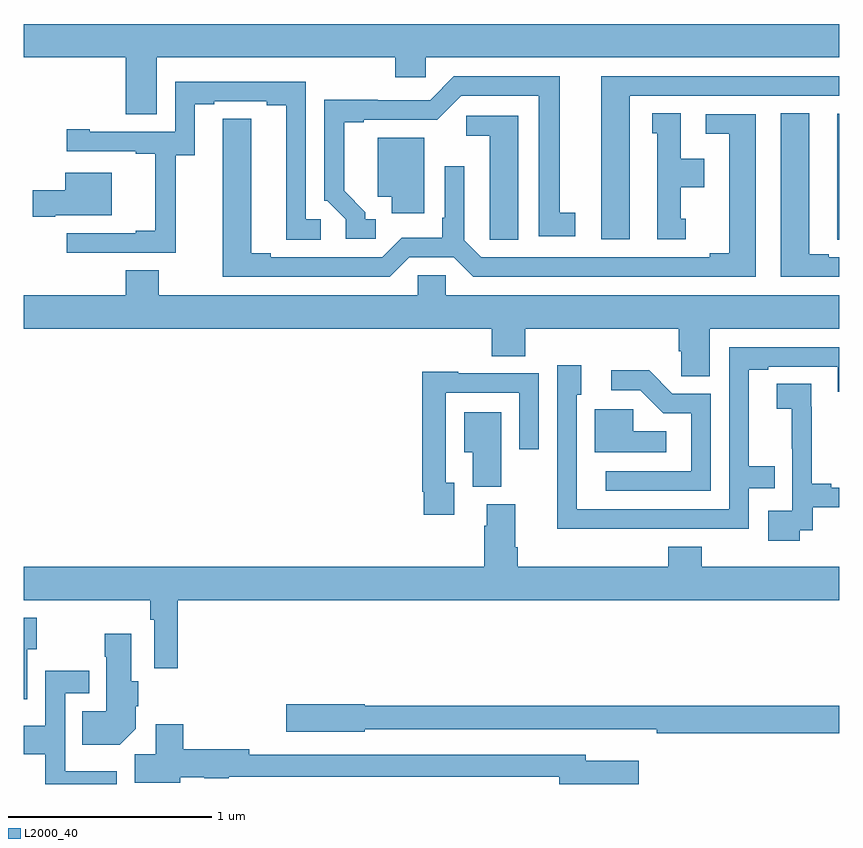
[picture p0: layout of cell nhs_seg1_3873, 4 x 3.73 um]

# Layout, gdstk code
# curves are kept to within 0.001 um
import gdstk
lib = gdstk.Library(unit=1e-6, precision=1e-09)
def P(c, l, *ps):  # polygons
    for p in ps: c.add(gdstk.Polygon(p, *l))
L2000_40 = (2000, 40)

nhs_seg1_3873 = lib.new_cell('nhs_seg1_3873')
P(nhs_seg1_3873, L2000_40, [(323.653,519.764),(324.821,519.764),(324.821,519.666),(324.972,519.666),(324.972,519.764),(327,519.764),(327,519.928),(323,519.928),(323,519.764),(323.501,519.764),(323.501,519.484),(323.653,519.484)],
  [(324.727,518.97),(324.676,518.97),(324.676,519.005),(324.571,519.11),(324.571,519.447),(324.667,519.447),(324.667,519.459),(325.029,519.459),(325.146,519.576),(325.526,519.576),(325.526,518.886),(325.705,518.886),(325.705,519.002),(325.63,519.002),(325.63,519.672),(325.11,519.672),(324.993,519.555),(324.737,519.555),(324.737,519.557),(324.474,519.557),(324.474,519.06),(324.489,519.06),(324.579,518.97),(324.579,518.874),(324.727,518.874)],
  [(325.972,519.576),(327,519.576),(327,519.672),(325.832,519.672),(325.832,518.871),(325.972,518.871)],
  [(323.745,519.283),(323.839,519.283),(323.839,519.534),(323.935,519.534),(323.935,519.549),(324.191,519.549),(324.191,519.529),(324.287,519.529),(324.287,518.869),(324.457,518.869),(324.457,518.97),(324.384,518.97),(324.384,519.645),(323.742,519.645),(323.742,519.399),(323.323,519.399),(323.323,519.412),(323.211,519.412),(323.211,519.303),(323.549,519.303),(323.549,519.291),(323.645,519.291),(323.645,518.914),(323.549,518.914),(323.549,518.901),(323.211,518.901),(323.211,518.805),(323.745,518.805)],
  [(326.248,518.973),(326.224,518.973),(326.224,519.128),(326.338,519.128),(326.338,519.268),(326.224,519.268),(326.224,519.491),(326.084,519.491),(326.084,519.393),(326.108,519.393),(326.108,518.871),(326.248,518.871)],
  [(327,518.784),(326.95,518.784),(326.95,518.799),(326.854,518.799),(326.854,519.491),(326.714,519.491),(326.714,518.688),(327,518.688)],
  [(327,519.487),(326.99,519.487),(326.99,518.977),(326.991,518.977),(326.991,518.869),(327,518.869)],
  [(324.891,518.784),(325.109,518.784),(325.205,518.688),(326.59,518.688),(326.59,519.486),(326.346,519.486),(326.346,519.39),(326.462,519.39),(326.462,518.804),(326.366,518.804),(326.366,518.784),(325.245,518.784),(325.161,518.868),(325.161,519.229),(325.065,519.229),(325.065,518.977),(325.053,518.977),(325.053,518.88),(324.855,518.88),(324.759,518.784),(324.211,518.784),(324.211,518.804),(324.115,518.804),(324.115,519.464),(323.976,519.464),(323.975,518.688),(324.795,518.688)],
  [(325.426,519.477),(325.17,519.477),(325.17,519.38),(325.286,519.38),(325.286,518.977),(325.287,518.977),(325.287,518.869),(325.426,518.869)],
  [(324.964,519.37),(324.737,519.37),(324.737,519.08),(324.806,519.08),(324.806,519),(324.964,519)],
  [(323.155,518.99),(323.431,518.99),(323.431,519.199),(323.204,519.199),(323.204,519.112),(323.043,519.112),(323.043,518.983),(323.155,518.983)],
  [(325.071,518.694),(324.933,518.694),(324.933,518.596),(323.661,518.596),(323.661,518.72),(323.501,518.72),(323.501,518.596),(323,518.596),(323,518.432),(325.295,518.432),(325.295,518.299),(325.46,518.299),(325.46,518.432),(326.213,518.432),(326.213,518.323),(326.226,518.323),(326.226,518.2),(326.365,518.2),(326.365,518.432),(327,518.432),(327,518.596),(325.071,518.596)],
  [(326.078,517.452),(326.556,517.452),(326.556,517.65),(326.684,517.65),(326.684,517.759),(326.557,517.759),(326.557,518.232),(326.653,518.232),(326.653,518.247),(326.994,518.247),(326.994,518.124),(327,518.124),(327,518.343),(326.46,518.343),(326.46,517.548),(325.713,517.548),(325.713,518.109),(325.735,518.109),(325.735,518.254),(325.617,518.254),(325.617,517.754),(325.616,517.754),(325.616,517.451),(326.078,517.451)],
  [(326.37,518.115),(326.181,518.115),(326.068,518.228),(325.881,518.228),(325.881,518.13),(326.025,518.13),(326.136,518.019),(326.274,518.019),(326.274,517.734),(325.854,517.734),(325.854,517.638),(326.37,517.638)],
  [(325.111,517.677),(325.071,517.677),(325.071,518.118),(325.431,518.118),(325.431,517.842),(325.527,517.842),(325.527,518.214),(325.131,518.214),(325.131,518.221),(324.955,518.221),(324.955,517.633),(324.963,517.633),(324.963,517.52),(325.111,517.52)],
  [(326.808,517.443),(326.87,517.443),(326.87,517.557),(327,517.557),(327,517.653),(326.962,517.653),(326.962,517.673),(326.866,517.673),(326.866,518.051),(326.864,518.051),(326.864,518.162),(326.694,518.162),(326.694,518.041),(326.768,518.041),(326.768,517.843),(326.769,517.843),(326.769,517.539),(326.652,517.539),(326.652,517.392),(326.808,517.392)],
  [(326.152,517.93),(325.989,517.93),(325.989,518.037),(325.802,518.037),(325.802,517.826),(326.152,517.826)],
  [(325.342,518.023),(325.16,518.023),(325.16,517.826),(325.202,517.826),(325.202,517.657),(325.342,517.657)],
  [(323.756,517.1),(327,517.1),(327,517.264),(326.327,517.264),(326.327,517.363),(326.162,517.363),(326.162,517.264),(325.424,517.264),(325.424,517.36),(325.411,517.36),(325.411,517.572),(325.271,517.572),(325.271,517.466),(325.259,517.466),(325.259,517.264),(323,517.264),(323,517.1),(323.62,517.1),(323.62,517.004),(323.64,517.004),(323.64,516.768),(323.756,516.768)],
  [(323.016,516.859),(323.064,516.859),(323.064,517.015),(323,517.015),(323,516.614),(323.016,516.614)],
  [(323.548,516.47),(323.548,516.58),(323.561,516.58),(323.561,516.702),(323.527,516.702),(323.527,516.937),(323.398,516.937),(323.398,516.824),(323.405,516.824),(323.405,516.556),(323.287,516.556),(323.287,516.392),(323.47,516.392)],
  [(323.455,516.262),(323.202,516.262),(323.202,516.645),(323.32,516.645),(323.32,516.754),(323.106,516.754),(323.106,516.484),(323,516.484),(323,516.344),(323.104,516.344),(323.104,516.199),(323.455,516.199)],
  [(327,516.584),(324.672,516.584),(324.672,516.59),(324.288,516.59),(324.288,516.455),(324.672,516.455),(324.672,516.468),(325.852,516.468),(325.852,516.467),(326.104,516.467),(326.104,516.448),(327,516.448)],
  [(326.017,516.313),(325.756,516.313),(325.756,516.342),(324.106,516.342),(324.106,516.37),(323.783,516.37),(323.783,516.493),(323.648,516.493),(323.648,516.344),(323.543,516.344),(323.543,516.206),(323.766,516.206),(323.766,516.233),(323.886,516.233),(323.886,516.226),(324.006,516.226),(324.006,516.234),(325.628,516.234),(325.628,516.199),(326.017,516.199)])

lib.write_gds('nhs_seg1_3873.gds')
